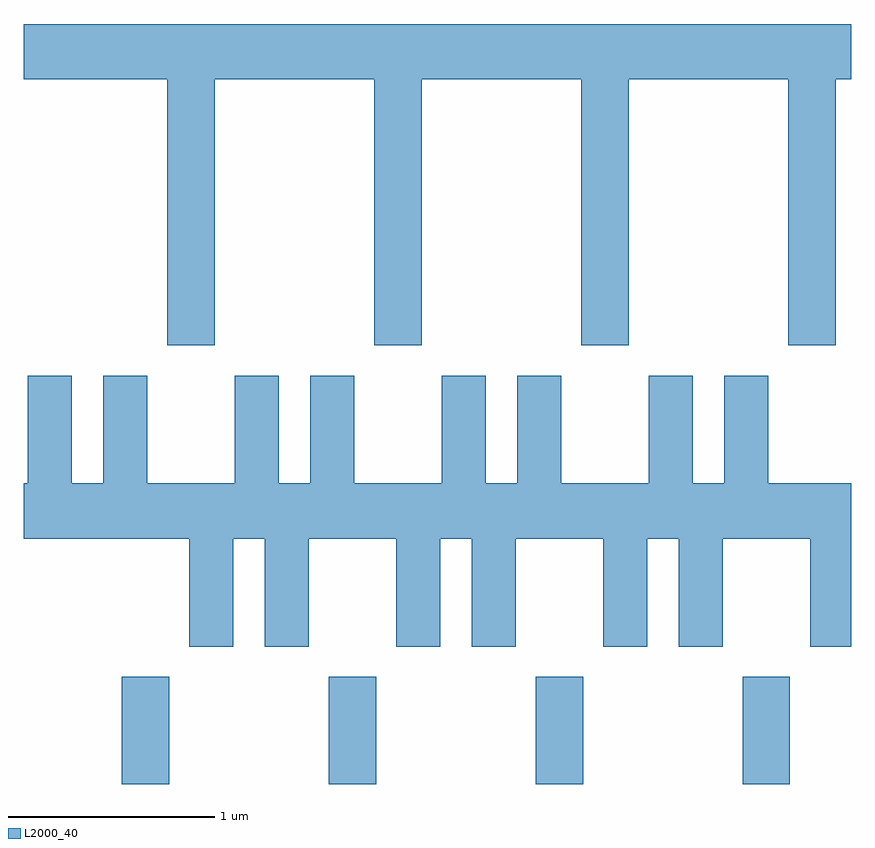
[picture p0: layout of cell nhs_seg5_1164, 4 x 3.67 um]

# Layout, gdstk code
import gdstk
lib = gdstk.Library(unit=1e-6, precision=1e-09)
def R(c, l, rs):  # rectangles x0, y0, x1, y1
    for r in rs: c.add(gdstk.rectangle(r[:2], r[2:], *l))
def A(c, l, x, y, w, h, nx, ny, dx, dy):  # array of equal rectangles
    R(c, l, [(x+i*dx, y+j*dy, x+i*dx+w, y+j*dy+h) for i in range(nx) for j in range(ny)])
def P(c, l, *ps):  # polygons
    for p in ps: c.add(gdstk.Polygon(p, *l))
L2000_40 = (2000, 40)

nhs_seg5_1164 = lib.new_cell('nhs_seg5_1164')
A(nhs_seg5_1164, L2000_40, 220.086, 1440.072, 0.228, 0.517, 4, 1, 1, 0)
P(nhs_seg5_1164, L2000_40, [(220.534,1443.476),(221.306,1443.476),(221.306,1442.191),(221.534,1442.191),(221.534,1443.476),(222.306,1443.476),(222.306,1442.191),(222.534,1442.191),(222.534,1443.476),(223.306,1443.476),(223.306,1442.191),(223.534,1442.191),(223.534,1443.476),(223.611,1443.476),(223.611,1443.744),(219.611,1443.744),(219.611,1443.476),(220.306,1443.476),(220.306,1442.191),(220.534,1442.191)],
  [(220.624,1441.256),(220.776,1441.256),(220.776,1440.736),(220.989,1440.736),(220.989,1441.256),(221.411,1441.256),(221.411,1440.736),(221.624,1440.736),(221.624,1441.256),(221.776,1441.256),(221.776,1440.736),(221.989,1440.736),(221.989,1441.256),(222.411,1441.256),(222.411,1440.736),(222.624,1440.736),(222.624,1441.256),(222.776,1441.256),(222.776,1440.736),(222.989,1440.736),(222.989,1441.256),(223.411,1441.256),(223.411,1440.736),(223.611,1440.736),(223.611,1441.524),(223.209,1441.524),(223.209,1442.044),(222.996,1442.044),(222.996,1441.524),(222.844,1441.524),(222.844,1442.044),(222.631,1442.044),(222.631,1441.524),(222.209,1441.524),(222.209,1442.044),(221.996,1442.044),(221.996,1441.524),(221.844,1441.524),(221.844,1442.044),(221.631,1442.044),(221.631,1441.524),(221.209,1441.524),(221.209,1442.044),(220.996,1442.044),(220.996,1441.524),(220.844,1441.524),(220.844,1442.044),(220.631,1442.044),(220.631,1441.524),(220.209,1441.524),(220.209,1442.044),(219.996,1442.044),(219.996,1441.524),(219.844,1441.524),(219.844,1442.044),(219.631,1442.044),(219.631,1441.524),(219.611,1441.524),(219.611,1441.256),(220.411,1441.256),(220.411,1440.736),(220.624,1440.736)])

lib.write_gds('nhs_seg5_1164.gds')
